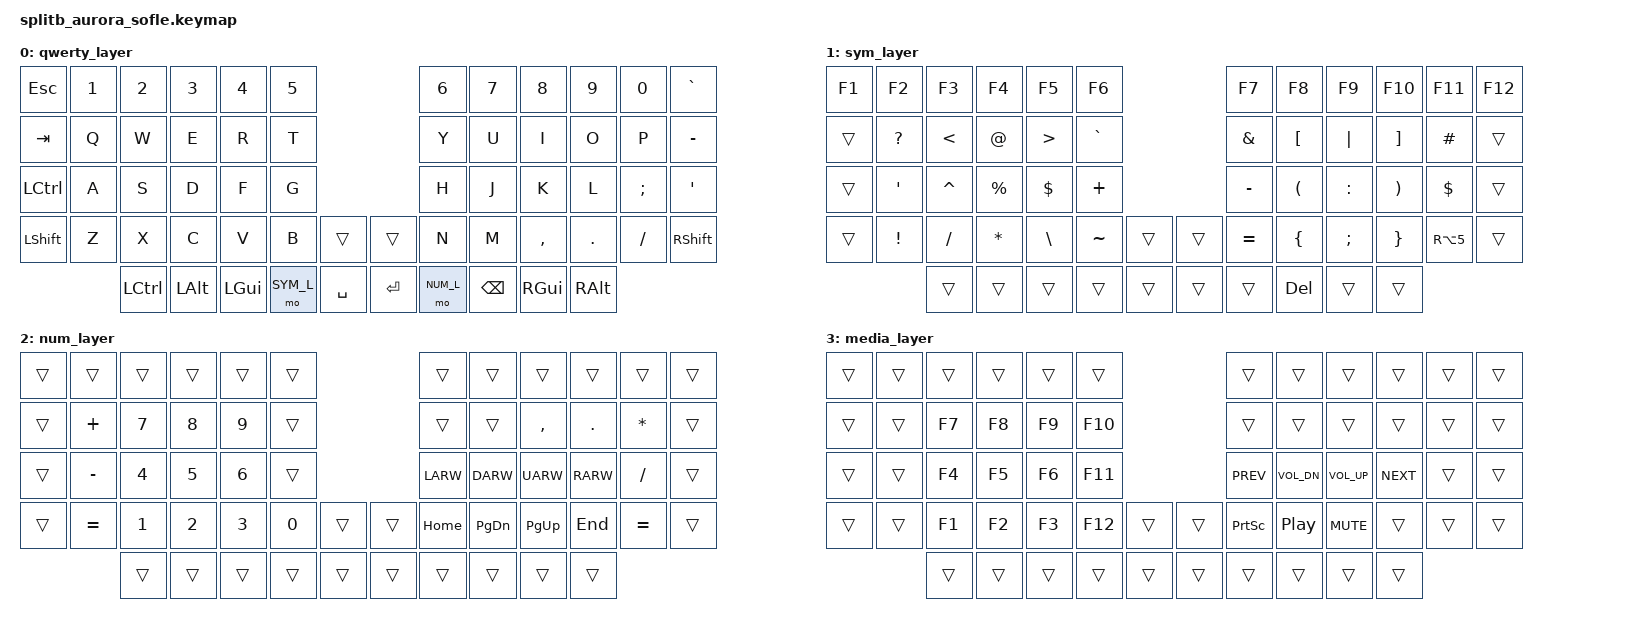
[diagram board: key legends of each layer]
/*
 * Copyright (c) 2023 The ZMK Contributors
 *
 * SPDX-License-Identifier: MIT
 */

#include <behaviors.dtsi>
#include <dt-bindings/zmk/keys.h>
// #include <dt-bindings/zmk/bt.h>
// #include <dt-bindings/zmk/ext_power.h>

/* Uncomment this block if using RGB
&led_strip {
    chain-length = <6>;
    // chain-length = <35>; // Uncomment if using both per-key and underglow LEDs
    // chain-length = <29>; // Uncomment if using only per-key LEDs.
};
 */

#define SYM_L 1
#define NUM_L 2
#define MED_L 3

#define INT_EUR     RA(N5)            // symbol eur

/ {
    // cond_layers {
    //     compatible = "zmk,conditional-layers";
    //     tri {
    //       if-layers = <NUM_L SYM_L>;
    //       then-layer = <MED_L>;
    //     };
    // };

    keymap {
        compatible = "zmk,keymap";

        qwerty_layer {
// ------------------------------------------------------------------------------------------------------------
// |  ESC  |  1  |  2  |  3   |  4   |  5    |                   |  6    |  7    |  8    |  9   |   0   |   `   |
// |  TAB  |  Q  |  W  |  E   |  R   |  T    |                   |  Y    |  U    |  I    |  O   |   P   |   -   |
// |  CTRL |  A  |  S  |  D   |  F   |  G    |                   |  H    |  J    |  K    |  L   |   ;   |   '   |
// | SHIFT |  Z  |  X  |  C   |  V   |  B    |        |  |       |  N    |  M    |  ,    |  .   |   /   | SHIFT |
//               |CTRL | ALT  | GUI  | SYM_L |  SPACE |  | ENTER | NUM_L | BSPC  | GUI   | RALT |
            bindings = <
&kp ESC   &kp N1 &kp N2    &kp N3   &kp N4   &kp N5                             &kp N6         &kp N7   &kp N8    &kp N9   &kp N0   &kp GRAVE
&kp TAB   &kp Q  &kp W     &kp E    &kp R    &kp T                              &kp Y          &kp U    &kp I     &kp O    &kp P    &kp MINUS
&kp LCTRL &kp A  &kp S     &kp D    &kp F    &kp G                              &kp H          &kp J    &kp K     &kp L    &kp SEMI &kp SQT
&kp LSHFT &kp Z  &kp X     &kp C    &kp V    &kp B          &trans     &trans   &kp N          &kp M    &kp COMMA &kp DOT  &kp FSLH &kp RSHFT
                 &kp LCTRL &kp LALT &kp LGUI &mo SYM_L      &kp SPACE  &kp RET  &mo NUM_L      &kp BSPC &kp RGUI  &kp RALT
            >;

            // sensor-bindings = <&inc_dec_kp C_VOL_UP C_VOL_DN>;
        };

        sym_layer {
// ------------------------------------------------------------------------------------------------------------
// |  F1   |  F2 |  F3 |  F4  |  F5  |  F6  |                   |  F7  |  F8   |  F9   |  F10 |  F11  |  F12  |
// |       |  ?  |  <  |  @   |  >   |  `   |                   |  &   |  [    |  "|"  |  ]   |  #    |       |
// |       |  '  |  ^  |  %   |  $   |  +   |                   |  -   |  (    |   :   |  )   |  $    |       |
// |       |  !  |  /  |  *   |  \   |  ~   |        |  |       |  =   |  {    |   ;   |  }   |  €    |       |
//               |     |      |      |      |        |  |       |  DEL |       |       |      |
            bindings = <
&kp F1     &kp F2           &kp F3            &kp F4             &kp F5              &kp F6                      &kp F7           &kp F8            &kp F9          &kp F10           &kp F11          &kp F12
&trans     &kp QUESTION     &kp LESS_THAN     &kp AT             &kp GREATER_THAN    &kp GRAVE                   &kp AMPERSAND    &kp LEFT_BRACKET  &kp PIPE        &kp RIGHT_BRACKET &kp HASH         &trans
&trans     &kp SQT          &kp CARET         &kp PERCENT        &kp DOLLAR          &kp PLUS                    &kp MINUS        &kp LPAR          &kp COLON       &kp RPAR          &kp DOLLAR       &trans
&trans     &kp EXCLAMATION  &kp SLASH         &kp ASTERISK       &kp BACKSLASH       &kp TILDE   &trans &trans   &kp EQUAL        &kp LBRC          &kp SEMICOLON   &kp RBRC          &kp INT_EUR      &trans
                            &trans            &trans             &trans              &trans      &trans &trans   &trans           &kp DEL           &trans          &trans
            >;

            // sensor-bindings = <&inc_dec_kp C_VOL_UP C_VOL_DN>;
        };

        num_layer {
// ------------------------------------------------------------------------------------------------------------
// |       |     |     |      |      |      |                   |      |       |       |      |       |       |
// |       |  +  |  7  |  8   |  9   |      |                   |      |       |   ,   |  .   |   *   |       |
// |       |  -  |  4  |  5   |  6   |      |                   |  ←   |   ↓   |   ↑   |  →   |   /   |       |
// |       |  =  |  1  |  2   |  3   |  0   |        |  |       | HOME | PG_DN | PG_UP | END  |   =   |   \   |
//               |     |      |      |      |        |  |       |      |       |       |      |
            bindings = <
&trans &trans          &trans           &trans             &trans       &trans                       &trans      &trans     &trans     &trans     &trans           &trans
&trans &kp PLUS        &kp N7           &kp N8             &kp N9       &trans                       &trans      &trans     &kp COMMA  &kp DOT    &kp ASTERISK     &trans
&trans &kp MINUS       &kp N4           &kp N5             &kp N6       &trans                       &kp LARW    &kp DARW   &kp UARW   &kp RARW   &kp SLASH        &trans
&trans &kp EQUAL       &kp N1           &kp N2             &kp N3       &kp N0    &trans   &trans    &kp HOME    &kp PG_DN  &kp PG_UP  &kp END    &kp EQUAL        &trans
                       &trans           &trans             &trans       &trans    &trans   &trans    &trans      &trans     &trans     &trans
            >;

            // sensor-bindings = <&inc_dec_kp C_VOL_UP C_VOL_DN>;
        };

        media_layer {
// ------------------------------------------------------------------------------------------------------------
// | BTCLR | BT1 | BT2 |  BT3 |  BT4 |  BT5 |                   |      |       |       |      |       |       |
// |       |     | F7  |  F8  |  F9  |  F10 |                   |      |       |       |      |       |       |
// |       |     | F4  |  F5  |  F6  |  F11 |                   | PREV | VOL_DN| VOL_UP| NEXT |       |       |
// |       |     | F1  |  F2  |  F3  |  F12 |        |  |       | PSCRN| PLAY  | MUTE  |      |       |       |
//               |     |      |      |      |        |  |       |      |       |       |      |
            bindings = <
// &bt BT_CLR &bt BT_SEL 0   &bt BT_SEL 1  &bt BT_SEL 2  &bt BT_SEL 3  &bt BT_SEL 4                 &trans     &trans            &trans       &trans     &trans    &trans
&trans     &trans         &trans        &trans        &trans        &trans                       &trans     &trans            &trans       &trans     &trans    &trans
&trans     &trans         &kp F7        &kp F8        &kp F9        &kp F10                      &trans     &trans            &trans       &trans     &trans    &trans
&trans     &trans         &kp F4        &kp F5        &kp F6        &kp F11                      &kp C_PREV &kp C_VOL_DN      &kp C_VOL_UP &kp C_NEXT &trans    &trans
&trans     &trans         &kp F1        &kp F2        &kp F3        &kp F12   &trans   &trans    &kp PSCRN  &kp C_PLAY_PAUSE  &kp C_MUTE   &trans     &trans    &trans
                          &trans        &trans        &trans        &trans    &trans   &trans    &trans     &trans            &trans       &trans
            >;

            // sensor-bindings = <&inc_dec_kp C_VOL_UP C_VOL_DN>;
        };
    };
};

